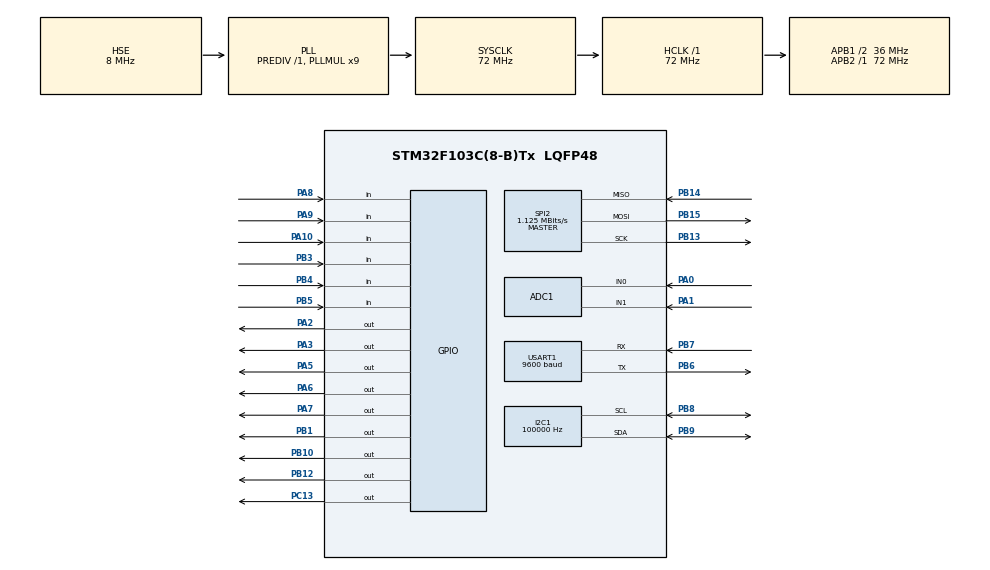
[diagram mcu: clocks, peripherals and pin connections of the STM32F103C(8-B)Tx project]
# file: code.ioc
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ADC1.Channel-0\#ChannelRegularConversion=ADC_CHANNEL_0
ADC1.Channel-2\#ChannelRegularConversion=ADC_CHANNEL_1
ADC1.ContinuousConvMode=DISABLE
ADC1.DiscontinuousConvMode=DISABLE
ADC1.EnableInjectedConversion=DISABLE
ADC1.NbrOfConversion=2
ADC1.NbrOfConversionFlag=1
ADC1.Rank-0\#ChannelRegularConversion=1
ADC1.Rank-2\#ChannelRegularConversion=2
ADC1.SamplingTime-0\#ChannelRegularConversion=ADC_SAMPLETIME_1CYCLE_5
ADC1.SamplingTime-2\#ChannelRegularConversion=ADC_SAMPLETIME_1CYCLE_5
ADC1.master=1
Dma.ADC1.0.Direction=DMA_PERIPH_TO_MEMORY
Dma.ADC1.0.Instance=DMA1_Channel1
Dma.ADC1.0.MemDataAlignment=DMA_MDATAALIGN_HALFWORD
Dma.ADC1.0.MemInc=DMA_MINC_ENABLE
Dma.ADC1.0.Mode=DMA_NORMAL
Dma.ADC1.0.PeriphDataAlignment=DMA_PDATAALIGN_HALFWORD
Dma.ADC1.0.PeriphInc=DMA_PINC_DISABLE
Dma.ADC1.0.Priority=DMA_PRIORITY_VERY_HIGH
Dma.Request0=ADC1
FREERTOS.Tasks01=defaultTask,-2,128,StartDefaultTask,Default,NULL,Dynamic,NULL,NULL
FREERTOS.configMAX_TASK_NAME_LEN=60
FREERTOS.configMINIMAL_STACK_SIZE=64
FREERTOS.configTOTAL_HEAP_SIZE=14288
FREERTOS.configUSE_NEWLIB_REENTRANT=1
FREERTOS.configUSE_PREEMPTION=1
I2C1.ClockSpeed=100000
I2C1.I2C_Mode=I2C_Standard
Mcu.Family=STM32F1
Mcu.Name=STM32F103C(8-B)Tx
Mcu.Package=LQFP48
NVIC.DMA1_Channel1_IRQn=true\:5\:0\:false\:false\:true\:true\:false\:true
NVIC.PriorityGroup=NVIC_PRIORITYGROUP_4
NVIC.TIM1_UP_IRQn=true\:15\:0\:false\:false\:true\:false\:false\:true
NVIC.TimeBase=TIM1_UP_IRQn
NVIC.TimeBaseIP=TIM1
PA0-WKUP.Signal=ADCx_IN0
PA1.Signal=ADCx_IN1
PA10.GPIO_Mode=GPIO_MODE_INPUT
PA10.GPIO_PuPd=GPIO_PULLDOWN
PA10.Signal=GPIO_Input
PA13.Mode=Serial_Wire
PA13.Signal=SYS_JTMS-SWDIO
PA14.Mode=Serial_Wire
PA14.Signal=SYS_JTCK-SWCLK
PA2.GPIO_ModeDefaultOutputPP=GPIO_MODE_OUTPUT_PP
PA2.GPIO_PuPd=GPIO_NOPULL
PA2.GPIO_Speed=GPIO_SPEED_FREQ_LOW
PA2.PinState=GPIO_PIN_RESET
PA2.Signal=GPIO_Output
PA3.GPIO_ModeDefaultOutputPP=GPIO_MODE_OUTPUT_PP
PA3.GPIO_PuPd=GPIO_NOPULL
PA3.GPIO_Speed=GPIO_SPEED_FREQ_LOW
PA3.PinState=GPIO_PIN_RESET
PA3.Signal=GPIO_Output
PA5.GPIO_ModeDefaultOutputPP=GPIO_MODE_OUTPUT_PP
PA5.GPIO_PuPd=GPIO_NOPULL
PA5.GPIO_Speed=GPIO_SPEED_FREQ_LOW
PA5.PinState=GPIO_PIN_RESET
PA5.Signal=GPIO_Output
PA6.GPIO_ModeDefaultOutputPP=GPIO_MODE_OUTPUT_PP
PA6.GPIO_PuPd=GPIO_NOPULL
PA6.GPIO_Speed=GPIO_SPEED_FREQ_LOW
PA6.PinState=GPIO_PIN_RESET
PA6.Signal=GPIO_Output
PA7.PinState=GPIO_PIN_SET
PA7.Signal=GPIO_Output
PA8.Signal=GPIO_Input
PA9.Signal=GPIO_Input
PB1.Signal=GPIO_Output
PB10.PinState=GPIO_PIN_SET
PB10.Signal=GPIO_Output
PB12.PinState=GPIO_PIN_SET
PB12.Signal=GPIO_Output
PB13.Mode=Full_Duplex_Master
PB13.Signal=SPI2_SCK
PB14.Mode=Full_Duplex_Master
PB14.Signal=SPI2_MISO
PB15.Mode=Full_Duplex_Master
PB15.Signal=SPI2_MOSI
PB3.GPIO_Mode=GPIO_MODE_INPUT
PB3.GPIO_PuPd=GPIO_PULLDOWN
PB3.Signal=GPIO_Input
PB4.GPIO_Mode=GPIO_MODE_INPUT
PB4.GPIO_PuPd=GPIO_PULLDOWN
PB4.Signal=GPIO_Input
PB5.GPIO_Mode=GPIO_MODE_INPUT
PB5.GPIO_PuPd=GPIO_PULLDOWN
PB5.Signal=GPIO_Input
PB6.Mode=Asynchronous
PB6.Signal=USART1_TX
PB7.Mode=Asynchronous
PB7.Signal=USART1_RX
PB8.GPIO_Pu=GPIO_PULLUP
PB8.Mode=I2C
PB8.Signal=I2C1_SCL
PB9.GPIO_Pu=GPIO_PULLUP
PB9.Mode=I2C
PB9.Signal=I2C1_SDA
PC13-TAMPER-RTC.PinState=GPIO_PIN_SET
PC13-TAMPER-RTC.Signal=GPIO_Output
PD0-OSC_IN.Mode=HSE-External-Oscillator
PD0-OSC_IN.Signal=RCC_OSC_IN
PD1-OSC_OUT.Mode=HSE-External-Oscillator
PD1-OSC_OUT.Signal=RCC_OSC_OUT
ProjectManager.HeapSize=0x200
ProjectManager.StackSize=0x400
ProjectManager.TargetToolchain=STM32CubeIDE
RCC.ADCPresc=RCC_ADCPCLK2_DIV6
RCC.AHBFreq_Value=72000000
RCC.APB1CLKDivider=RCC_HCLK_DIV2
RCC.APB1Freq_Value=36000000
RCC.APB1TimFreq_Value=72000000
RCC.APB2Freq_Value=72000000
RCC.APB2TimFreq_Value=72000000
RCC.HCLKFreq_Value=72000000
RCC.HSE_Timout=400
RCC.PLLMUL=RCC_PLL_MUL9
RCC.PLLSourceVirtual=RCC_PLLSOURCE_HSE
RCC.SYSCLKFreq_VALUE=72000000
RCC.SYSCLKSource=RCC_SYSCLKSOURCE_PLLCLK
RCC.USBFreq_Value=72000000
SH.ADCx_IN0.0=ADC1_IN0,IN0
SH.ADCx_IN1.0=ADC1_IN1,IN1
SPI2.BaudRatePrescaler=SPI_BAUDRATEPRESCALER_32
SPI2.CRCCalculation=SPI_CRCCALCULATION_DISABLE
SPI2.CalculateBaudRate=1.125 MBits/s
SPI2.DataSize=SPI_DATASIZE_8BIT
SPI2.Direction=SPI_DIRECTION_2LINES
SPI2.Mode=SPI_MODE_MASTER
SPI2.VirtualType=VM_MASTER
USART1.BaudRate=9600
USART1.Parity=PARITY_EVEN
USART1.VirtualMode=VM_ASYNC
USART1.WordLength=WORDLENGTH_9B
VP_FREERTOS_VS_CMSIS_V1.Mode=CMSIS_V1
VP_RTC_VS_RTC_Activate.Mode=RTC_Enabled
VP_SYS_VS_tim1.Mode=TIM1
board=custom

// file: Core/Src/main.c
/* USER CODE BEGIN Header */
/**
  ******************************************************************************
  * @file           : main.c
  * @brief          : Main program body
  ******************************************************************************
  * @attention
  *
  * <h2><center>&copy; Copyright (c) 2021 STMicroelectronics.
  * All rights reserved.</center></h2>
  *
  * This software component is licensed by ST under Ultimate Liberty license
  * SLA0044, the "License"; You may not use this file except in compliance with
  * the License. You may obtain a copy of the License at:
  *                             www.st.com/SLA0044
  *
  ******************************************************************************
  */
/* USER CODE END Header */
#include "main.h"
#include "cmsis_os.h"

ADC_HandleTypeDef hadc1;
DMA_HandleTypeDef hdma_adc1;

I2C_HandleTypeDef hi2c1;

RTC_HandleTypeDef hrtc;

SPI_HandleTypeDef hspi2;

UART_HandleTypeDef huart1;

osThreadId defaultTaskHandle;

void SystemClock_Config(void);
static void MX_GPIO_Init(void);
static void MX_ADC1_Init(void);
static void MX_I2C1_Init(void);
static void MX_RTC_Init(void);
static void MX_SPI2_Init(void);
static void MX_DMA_Init(void);
static void MX_USART1_UART_Init(void);
void StartDefaultTask(void const * argument);

/* USER CODE BEGIN PFP */
//xQueueHandle queue_from_eeprom;
//xQueueHandle queue_to_eeprom;
xSemaphoreHandle sem_state;
xSemaphoreHandle sem_clave;
xSemaphoreHandle sem_DMA;
xSemaphoreHandle sem_eeprom;

uint8_t clave_ok = 0;
//uint16_t raw_data[LEN_MUESTRAS*N_CANALES];
uint8_t rfid_internal_state = WORKING_STATE; //ADDING_CARD_STATE;

uint16_t datos_adc_1[N_SAMPLES];
uint16_t datos_adc_2[N_SAMPLES];
uint16_t *datos_adc_dma, *datos_adc_uso;
/* USER CODE END PFP */

/* USER CODE BEGIN 0 */
void HAL_ADC_ConvCpltCallback(ADC_HandleTypeDef* hadc)
{
	BaseType_t pxTaskWoken;
	cambiar_punteros();
	xSemaphoreGiveFromISR(sem_DMA,&pxTaskWoken);
	portEND_SWITCHING_ISR(pxTaskWoken);
}

/* USER CODE END 0 */

int main(void)
{

  /* MCU Configuration--------------------------------------------------------*/

  /* Reset of all peripherals, Initializes the Flash interface and the Systick. */
  HAL_Init();

  /* Configure the system clock */
  SystemClock_Config();

  /* USER CODE BEGIN SysInit */
  HAL_NVIC_SetPriorityGrouping( NVIC_PRIORITYGROUP_4 );

  /* USER CODE END SysInit */

  /* Initialize all configured peripherals */
  MX_GPIO_Init();
  MX_ADC1_Init();
  MX_I2C1_Init();
  MX_RTC_Init();
  MX_SPI2_Init();
  MX_DMA_Init();
  MX_USART1_UART_Init();
  /* USER CODE BEGIN 2 */
  HAL_Delay(100);
  MFRC522_Init(&hspi2, SPI_NSS_GPIO_Port, SPI_NSS_Pin);
  led_init();
  init_teclado();
  init_eeprom(&hi2c1);
  lcd_init (&hi2c1);
  adc_init (&hadc1);

  /* USER CODE END 2 */

  /* USER CODE BEGIN RTOS_MUTEX */
  /* add mutexes, ... */
  sem_state = xSemaphoreCreateMutex();
  sem_clave = xSemaphoreCreateMutex();
  sem_eeprom = xSemaphoreCreateMutex();
  sem_DMA = xSemaphoreCreateBinary();
  xSemaphoreTake(sem_DMA,0);
  /* USER CODE END RTOS_MUTEX */

  /* USER CODE BEGIN RTOS_QUEUES */
//  if(!(queue_from_eeprom = xQueueCreate(EEPROM_QUEUE_LENGTH, EEPROM_QUEUE_SIZE)))
//	{
//	  	  Error_Handler();
//	}
//  if(!(queue_to_eeprom = xQueueCreate(EEPROM_QUEUE_LENGTH, EEPROM_QUEUE_SIZE)))
//  	{
//  	  	  Error_Handler();
//  	}
  /* USER CODE END RTOS_QUEUES */

  /* Create the thread(s) */
  /* definition and creation of defaultTask */
  osThreadDef(defaultTask, StartDefaultTask, osPriorityLow, 0, 128);
  defaultTaskHandle = osThreadCreate(osThread(defaultTask), NULL);

  /* USER CODE BEGIN RTOS_THREADS */
  if(xTaskCreate(checkear_teclado,
  		  	  "checkear_teclado",
			  configMINIMAL_STACK_SIZE,
  			  NULL,
  			  1,
  			  NULL)!= pdPASS) Error_Handler();
  if(xTaskCreate(detectar_sensores,
			  "detectar_sensores",
			  configMINIMAL_STACK_SIZE,
			  NULL,
			  1,
			  NULL)!= pdPASS) Error_Handler();
//  if(xTaskCreate(conexion_bt,
//			  "conexion_bt",
//			  configMINIMAL_STACK_SIZE,
//			  NULL,
//			  1,
//			  NULL)!= pdPASS) Error_Handler();
//  if(xTaskCreate(actualizar_nivel_bateria,
//			  "actualizar_nivel_bateria",
//			  configMINIMAL_STACK_SIZE,
//			  NULL,
//			  1,
//			  NULL)!= pdPASS) Error_Handler();
  if(xTaskCreate(lcd_update,
			  "lcd_update",
			  configMINIMAL_STACK_SIZE,
			  NULL,
			  1,
			  NULL)!= pdPASS) Error_Handler();
  if(xTaskCreate(detectar_rfid,
  			  "detectar_rfid",
			  configMINIMAL_STACK_SIZE*4,
  			  NULL,
  			  1,
  			  NULL)!= pdPASS) Error_Handler();

//  if(xTaskCreate(tarea_conversiones,
//			  "tarea_conversiones",
//			  configMINIMAL_STACK_SIZE,
//			  NULL,
//			  1,
//			  NULL)!= pdPASS) Error_Handler();
//  if(xTaskCreate(tarea_promedia,
//			  "checkear_power_supply",
//			  configMINIMAL_STACK_SIZE,
//			  NULL,
//			  1,
//			  NULL)!= pdPASS) Error_Handler();
//  if(xTaskCreate(checkear_power_supply,
//			  "checkear_power_supply",
//			  configMINIMAL_STACK_SIZE,
//			  NULL,
//			  1,
//			  NULL)!= pdPASS) Error_Handler();

  /* USER CODE END RTOS_THREADS */

  /* Start scheduler */
  osKernelStart();

  /* We should never get here as control is now taken by the scheduler */
  /* Infinite loop */
  while (1)
  {

  }
}

void SystemClock_Config(void)
{
  RCC_OscInitTypeDef RCC_OscInitStruct = {0};
  RCC_ClkInitTypeDef RCC_ClkInitStruct = {0};
  RCC_PeriphCLKInitTypeDef PeriphClkInit = {0};

  /** Initializes the RCC Oscillators according to the specified parameters
  * in the RCC_OscInitTypeDef structure.
  */
  RCC_OscInitStruct.OscillatorType = RCC_OSCILLATORTYPE_LSI|RCC_OSCILLATORTYPE_HSE;
  RCC_OscInitStruct.HSEState = RCC_HSE_ON;
  RCC_OscInitStruct.HSEPredivValue = RCC_HSE_PREDIV_DIV1;
  RCC_OscInitStruct.HSIState = RCC_HSI_ON;
  RCC_OscInitStruct.LSIState = RCC_LSI_ON;
  RCC_OscInitStruct.PLL.PLLState = RCC_PLL_ON;
  RCC_OscInitStruct.PLL.PLLSource = RCC_PLLSOURCE_HSE;
  RCC_OscInitStruct.PLL.PLLMUL = RCC_PLL_MUL9;
  if (HAL_RCC_OscConfig(&RCC_OscInitStruct) != HAL_OK)
  {
    Error_Handler();
  }
  /** Initializes the CPU, AHB and APB buses clocks
  */
  RCC_ClkInitStruct.ClockType = RCC_CLOCKTYPE_HCLK|RCC_CLOCKTYPE_SYSCLK
                              |RCC_CLOCKTYPE_PCLK1|RCC_CLOCKTYPE_PCLK2;
  RCC_ClkInitStruct.SYSCLKSource = RCC_SYSCLKSOURCE_PLLCLK;
  RCC_ClkInitStruct.AHBCLKDivider = RCC_SYSCLK_DIV1;
  RCC_ClkInitStruct.APB1CLKDivider = RCC_HCLK_DIV2;
  RCC_ClkInitStruct.APB2CLKDivider = RCC_HCLK_DIV1;

  if (HAL_RCC_ClockConfig(&RCC_ClkInitStruct, FLASH_LATENCY_2) != HAL_OK)
  {
    Error_Handler();
  }
  PeriphClkInit.PeriphClockSelection = RCC_PERIPHCLK_RTC|RCC_PERIPHCLK_ADC;
  PeriphClkInit.RTCClockSelection = RCC_RTCCLKSOURCE_LSI;
  PeriphClkInit.AdcClockSelection = RCC_ADCPCLK2_DIV6;
  if (HAL_RCCEx_PeriphCLKConfig(&PeriphClkInit) != HAL_OK)
  {
    Error_Handler();
  }
}

static void MX_ADC1_Init(void)
{

  ADC_ChannelConfTypeDef sConfig = {0};

  /** Common config
  */
  hadc1.Instance = ADC1;
  hadc1.Init.ScanConvMode = ADC_SCAN_ENABLE;
  hadc1.Init.ContinuousConvMode = DISABLE;
  hadc1.Init.DiscontinuousConvMode = DISABLE;
  hadc1.Init.ExternalTrigConv = ADC_SOFTWARE_START;
  hadc1.Init.DataAlign = ADC_DATAALIGN_RIGHT;
  hadc1.Init.NbrOfConversion = 2;
  if (HAL_ADC_Init(&hadc1) != HAL_OK)
  {
    Error_Handler();
  }
  /** Configure Regular Channel
  */
  sConfig.Channel = ADC_CHANNEL_0;
  sConfig.Rank = ADC_REGULAR_RANK_1;
  sConfig.SamplingTime = ADC_SAMPLETIME_1CYCLE_5;
  if (HAL_ADC_ConfigChannel(&hadc1, &sConfig) != HAL_OK)
  {
    Error_Handler();
  }
  /** Configure Regular Channel
  */
  sConfig.Channel = ADC_CHANNEL_1;
  sConfig.Rank = ADC_REGULAR_RANK_2;
  if (HAL_ADC_ConfigChannel(&hadc1, &sConfig) != HAL_OK)
  {
    Error_Handler();
  }

}

static void MX_I2C1_Init(void)
{

  hi2c1.Instance = I2C1;
  hi2c1.Init.ClockSpeed = 100000;
  hi2c1.Init.DutyCycle = I2C_DUTYCYCLE_2;
  hi2c1.Init.OwnAddress1 = 0;
  hi2c1.Init.AddressingMode = I2C_ADDRESSINGMODE_7BIT;
  hi2c1.Init.DualAddressMode = I2C_DUALADDRESS_DISABLE;
  hi2c1.Init.OwnAddress2 = 0;
  hi2c1.Init.GeneralCallMode = I2C_GENERALCALL_DISABLE;
  hi2c1.Init.NoStretchMode = I2C_NOSTRETCH_DISABLE;
  if (HAL_I2C_Init(&hi2c1) != HAL_OK)
  {
    Error_Handler();
  }

}

static void MX_RTC_Init(void)
{

  /** Initialize RTC Only
  */
  hrtc.Instance = RTC;
  hrtc.Init.AsynchPrediv = RTC_AUTO_1_SECOND;
  hrtc.Init.OutPut = RTC_OUTPUTSOURCE_ALARM;
  if (HAL_RTC_Init(&hrtc) != HAL_OK)
  {
    Error_Handler();
  }

}

static void MX_SPI2_Init(void)
{

  /* SPI2 parameter configuration*/
  hspi2.Instance = SPI2;
  hspi2.Init.Mode = SPI_MODE_MASTER;
  hspi2.Init.Direction = SPI_DIRECTION_2LINES;
  hspi2.Init.DataSize = SPI_DATASIZE_8BIT;
  hspi2.Init.CLKPolarity = SPI_POLARITY_LOW;
  hspi2.Init.CLKPhase = SPI_PHASE_1EDGE;
  hspi2.Init.NSS = SPI_NSS_SOFT;
  hspi2.Init.BaudRatePrescaler = SPI_BAUDRATEPRESCALER_32;
  hspi2.Init.FirstBit = SPI_FIRSTBIT_MSB;
  hspi2.Init.TIMode = SPI_TIMODE_DISABLE;
  hspi2.Init.CRCCalculation = SPI_CRCCALCULATION_DISABLE;
  hspi2.Init.CRCPolynomial = 10;
  if (HAL_SPI_Init(&hspi2) != HAL_OK)
  {
    Error_Handler();
  }

}

static void MX_USART1_UART_Init(void)
{

  huart1.Instance = USART1;
  huart1.Init.BaudRate = 9600;
  huart1.Init.WordLength = UART_WORDLENGTH_9B;
  huart1.Init.StopBits = UART_STOPBITS_1;
  huart1.Init.Parity = UART_PARITY_EVEN;
  huart1.Init.Mode = UART_MODE_TX_RX;
  huart1.Init.HwFlowCtl = UART_HWCONTROL_NONE;
  huart1.Init.OverSampling = UART_OVERSAMPLING_16;
  if (HAL_UART_Init(&huart1) != HAL_OK)
  {
    Error_Handler();
  }

}

static void MX_DMA_Init(void)
{

  /* DMA controller clock enable */
  __HAL_RCC_DMA1_CLK_ENABLE();

  /* DMA interrupt init */
  /* DMA1_Channel1_IRQn interrupt configuration */
  HAL_NVIC_SetPriority(DMA1_Channel1_IRQn, 5, 0);
  HAL_NVIC_EnableIRQ(DMA1_Channel1_IRQn);

}

static void MX_GPIO_Init(void)
{
  GPIO_InitTypeDef GPIO_InitStruct = {0};

  /* GPIO Ports Clock Enable */
  __HAL_RCC_GPIOC_CLK_ENABLE();
  __HAL_RCC_GPIOD_CLK_ENABLE();
  __HAL_RCC_GPIOA_CLK_ENABLE();
  __HAL_RCC_GPIOB_CLK_ENABLE();

  /*Configure GPIO pin Output Level */
  HAL_GPIO_WritePin(GPIOC, GPIO_PIN_13, GPIO_PIN_SET);

  /*Configure GPIO pin Output Level */
  HAL_GPIO_WritePin(GPIOA, GPIO_PIN_2|GPIO_PIN_3|GPIO_PIN_5|GPIO_PIN_6, GPIO_PIN_RESET);

  /*Configure GPIO pin Output Level */
  HAL_GPIO_WritePin(GPIOA, GPIO_PIN_7, GPIO_PIN_SET);

  /*Configure GPIO pin Output Level */
  HAL_GPIO_WritePin(GPIOB, GPIO_PIN_1, GPIO_PIN_RESET);

  /*Configure GPIO pin Output Level */
  HAL_GPIO_WritePin(GPIOB, GPIO_PIN_10|GPIO_PIN_12, GPIO_PIN_SET);

  /*Configure GPIO pin : PC13 */
  GPIO_InitStruct.Pin = GPIO_PIN_13;
  GPIO_InitStruct.Mode = GPIO_MODE_OUTPUT_PP;
  GPIO_InitStruct.Pull = GPIO_NOPULL;
  GPIO_InitStruct.Speed = GPIO_SPEED_FREQ_LOW;
  HAL_GPIO_Init(GPIOC, &GPIO_InitStruct);

  /*Configure GPIO pins : PA2 PA3 PA5 PA6
                           PA7 */
  GPIO_InitStruct.Pin = GPIO_PIN_2|GPIO_PIN_3|GPIO_PIN_5|GPIO_PIN_6
                          |GPIO_PIN_7;
  GPIO_InitStruct.Mode = GPIO_MODE_OUTPUT_PP;
  GPIO_InitStruct.Pull = GPIO_NOPULL;
  GPIO_InitStruct.Speed = GPIO_SPEED_FREQ_LOW;
  HAL_GPIO_Init(GPIOA, &GPIO_InitStruct);

  /*Configure GPIO pins : PB1 PB10 PB12 */
  GPIO_InitStruct.Pin = GPIO_PIN_1|GPIO_PIN_10|GPIO_PIN_12;
  GPIO_InitStruct.Mode = GPIO_MODE_OUTPUT_PP;
  GPIO_InitStruct.Pull = GPIO_NOPULL;
  GPIO_InitStruct.Speed = GPIO_SPEED_FREQ_LOW;
  HAL_GPIO_Init(GPIOB, &GPIO_InitStruct);

  /*Configure GPIO pins : PA8 PA9 */
  GPIO_InitStruct.Pin = GPIO_PIN_8|GPIO_PIN_9;
  GPIO_InitStruct.Mode = GPIO_MODE_INPUT;
  GPIO_InitStruct.Pull = GPIO_NOPULL;
  HAL_GPIO_Init(GPIOA, &GPIO_InitStruct);

  /*Configure GPIO pin : PA10 */
  GPIO_InitStruct.Pin = GPIO_PIN_10;
  GPIO_InitStruct.Mode = GPIO_MODE_INPUT;
  GPIO_InitStruct.Pull = GPIO_PULLDOWN;
  HAL_GPIO_Init(GPIOA, &GPIO_InitStruct);

  /*Configure GPIO pins : PB3 PB4 PB5 */
  GPIO_InitStruct.Pin = GPIO_PIN_3|GPIO_PIN_4|GPIO_PIN_5;
  GPIO_InitStruct.Mode = GPIO_MODE_INPUT;
  GPIO_InitStruct.Pull = GPIO_PULLDOWN;
  HAL_GPIO_Init(GPIOB, &GPIO_InitStruct);

}

void StartDefaultTask(void const * argument)
{
  for(;;)
  {
    osDelay(1);
  }
}

void HAL_TIM_PeriodElapsedCallback(TIM_HandleTypeDef *htim)
{
  if (htim->Instance == TIM1) {
    HAL_IncTick();
  }
}

void Error_Handler(void)
{
  /* USER CODE BEGIN Error_Handler_Debug */
  /* User can add his own implementation to report the HAL error return state */
	volatile int32_t i;
	__disable_irq();
	while(1)
	{
		HAL_GPIO_TogglePin(GPIOB, GPIO_PIN_10);	//LED Bluepill
		for(i=0;i<200000; i++);
	}
  /* USER CODE END Error_Handler_Debug */
}

/************************ (C) COPYRIGHT STMicroelectronics *****END OF FILE****/
